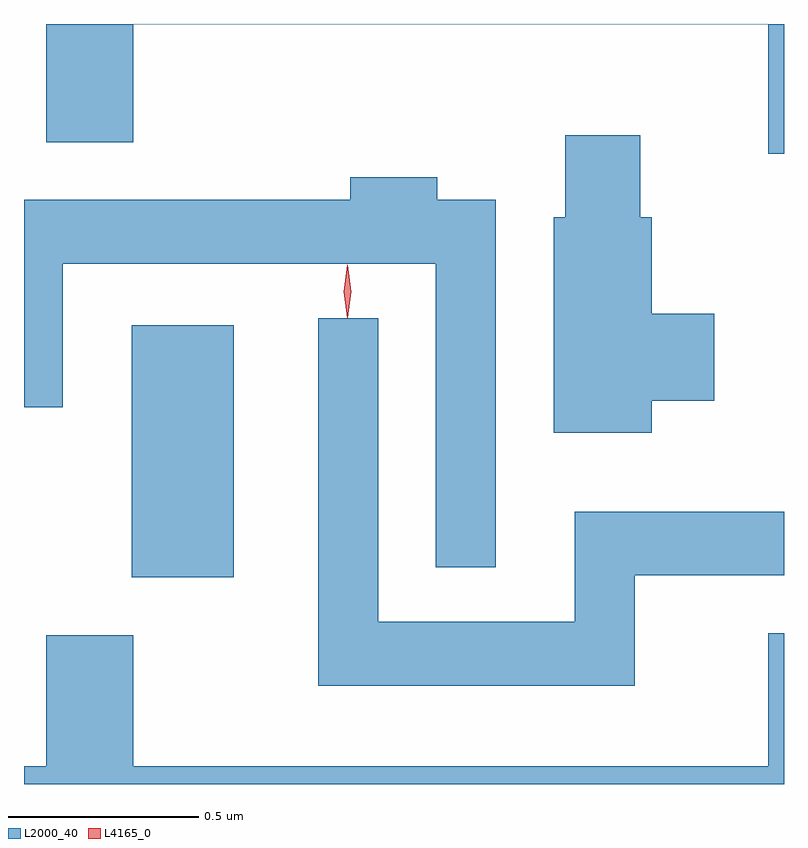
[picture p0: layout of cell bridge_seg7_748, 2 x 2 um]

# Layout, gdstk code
import gdstk
lib = gdstk.Library(unit=1e-6, precision=1e-09)
def R(c, l, rs):  # rectangles x0, y0, x1, y1
    for r in rs: c.add(gdstk.rectangle(r[:2], r[2:], *l))
def P(c, l, *ps):  # polygons
    for p in ps: c.add(gdstk.Polygon(p, *l))
L2000_40 = (2000, 40)
L4165_0 = (4165, 0)

bridge_seg7_748 = lib.new_cell('bridge_seg7_748')
R(bridge_seg7_748, L2000_40, [(609.316,1755.041,609.584,1755.704)])
P(bridge_seg7_748, L2000_40, [(611.032,1756.497),(609.032,1756.497),(609.032,1756.496),(609.091,1756.496),(609.091,1756.186),(609.319,1756.186),(609.319,1756.496),(610.991,1756.496),(610.991,1756.156),(611.032,1756.156)],
  [(610.684,1755.506),(610.849,1755.506),(610.849,1755.734),(610.684,1755.734),(610.684,1755.989),(610.654,1755.989),(610.654,1756.204),(610.456,1756.204),(610.456,1755.989),(610.426,1755.989),(610.426,1755.421),(610.684,1755.421)],
  [(610.274,1756.034),(610.119,1756.034),(610.119,1756.094),(609.891,1756.094),(609.891,1756.034),(609.032,1756.034),(609.032,1755.488),(609.134,1755.488),(609.134,1755.866),(610.116,1755.866),(610.116,1755.068),(610.274,1755.068)],
  [(610.639,1755.046),(611.032,1755.046),(611.032,1755.214),(610.481,1755.214),(610.481,1754.924),(609.964,1754.924),(609.964,1755.723),(609.806,1755.723),(609.806,1754.756),(610.639,1754.756)],
  [(611.032,1754.894),(610.991,1754.894),(610.991,1754.544),(609.319,1754.544),(609.319,1754.889),(609.091,1754.889),(609.091,1754.544),(609.032,1754.544),(609.032,1754.497),(611.032,1754.497)])
P(bridge_seg7_748, L4165_0, [(609.883,1755.723),(609.882,1755.724),(609.873,1755.793),(609.882,1755.862),(609.883,1755.863),(609.884,1755.862),(609.893,1755.793),(609.884,1755.724)])

lib.write_gds('bridge_seg7_748.gds')
